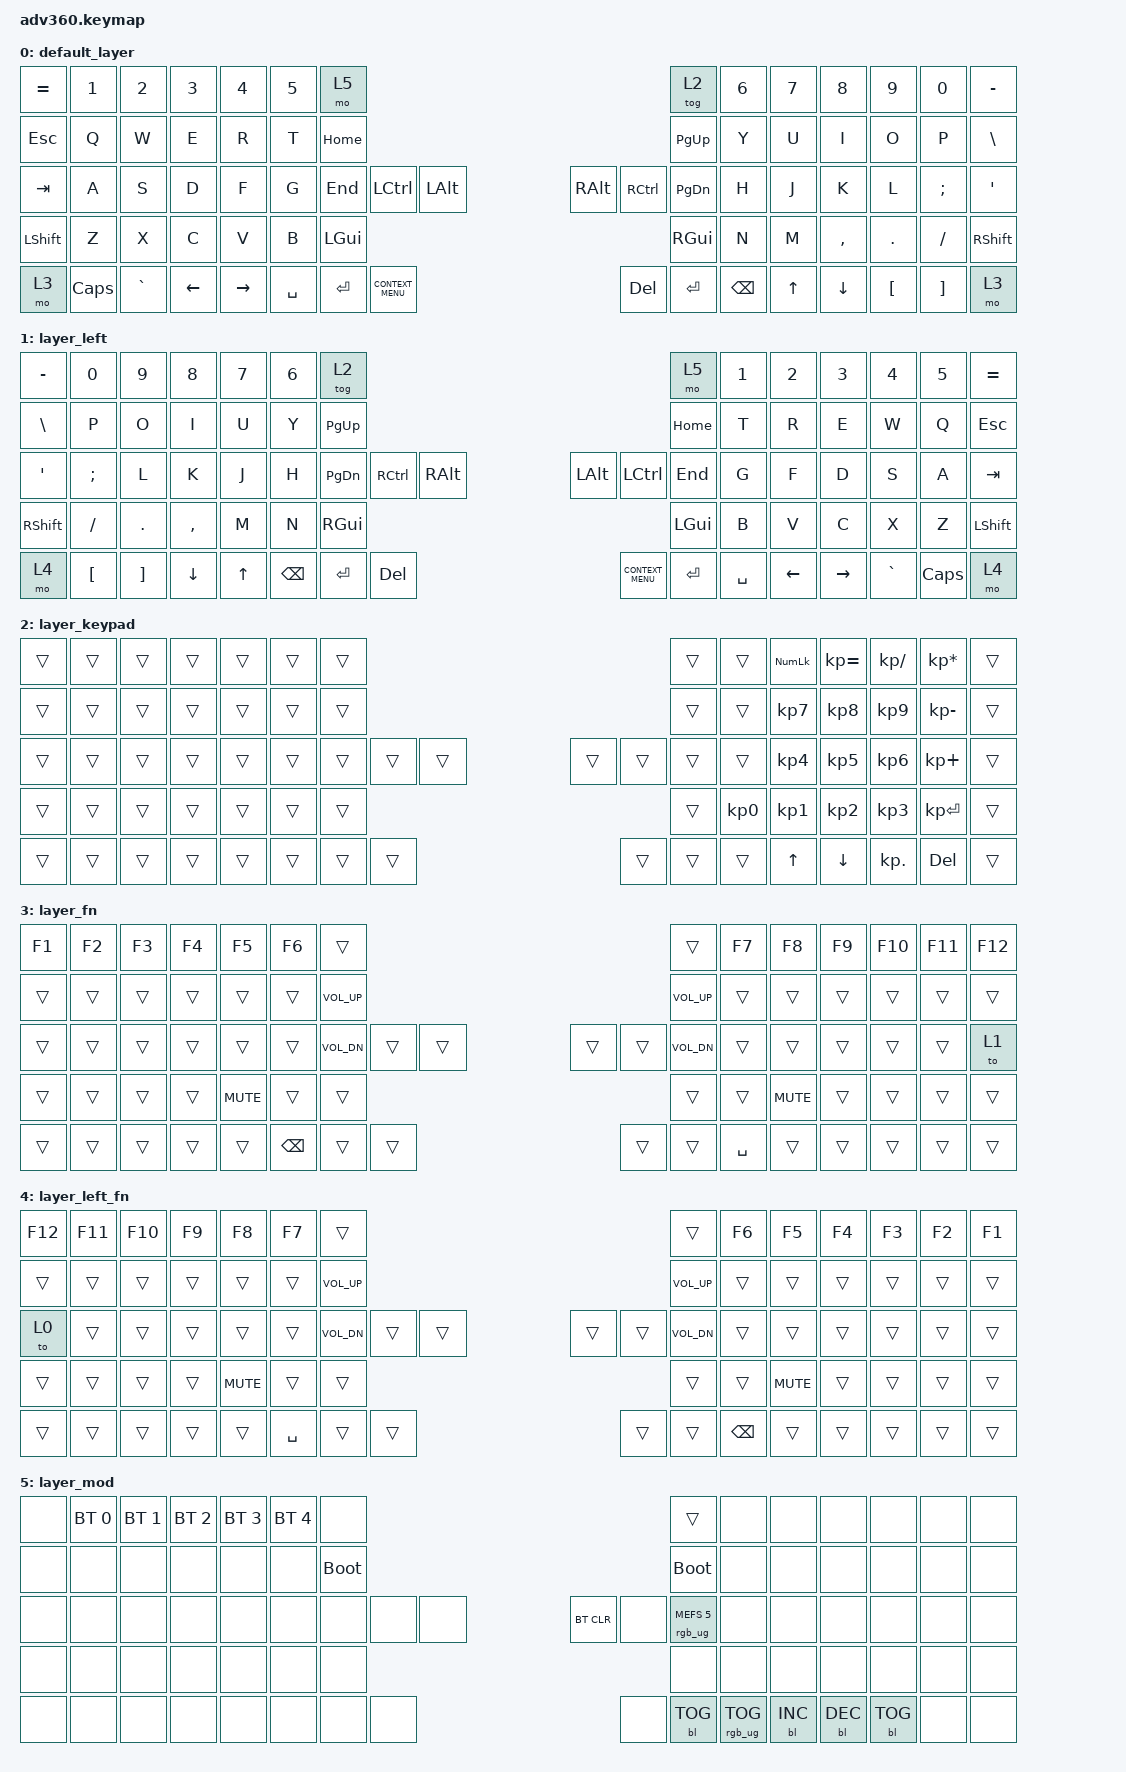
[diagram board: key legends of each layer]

/*
 * Copyright (c) 2020 The ZMK Contributors
 *
 * SPDX-License-Identifier: MIT
 */


/* THIS FILE WAS GENERATED!
 *
 * This file was generated automatically. You may or may not want to
 * edit it directly.
 */

#include <behaviors.dtsi>
#include <dt-bindings/zmk/keys.h>
#include <dt-bindings/zmk/bt.h>
#include <dt-bindings/zmk/rgb.h>
#include <dt-bindings/zmk/backlight.h>

/ {
  behaviors {
    #include "macros.dtsi"
    #include "version.dtsi"

    hm: homerow_mods {
        compatible = "zmk,behavior-hold-tap";
        label = "HOMEROW_MODS";
        #binding-cells = <2>;
        tapping-term-ms = <200>;
        quick_tap_ms = <175>;
        flavor = "tap-preferred";
        bindings = <&kp>, <&kp>;
    };
  };

    keymap {
        compatible = "zmk,keymap";


        default_layer {
            bindings = <
 &kp EQUAL    &kp N1     &kp N2    &kp N3     &kp N4  &kp N5                &mo 5                                                                             &tog 2  &kp N6  &kp N7     &kp N8    &kp N9    &kp N0  &kp MINUS
   &kp ESC     &kp Q      &kp W     &kp E      &kp R   &kp T             &kp HOME                                                                        &kp PAGE_UP   &kp Y   &kp U      &kp I     &kp O     &kp P   &kp BSLH
   &kp TAB     &kp A      &kp S     &kp D      &kp F   &kp G              &kp END  &kp LCTRL            &kp LALT                  &kp RALT  &kp RCTRL  &kp PAGE_DOWN   &kp H   &kp J      &kp K     &kp L  &kp SEMI    &kp SQT
 &kp LSHFT     &kp Z      &kp X     &kp C      &kp V   &kp B                                            &kp LGUI                  &kp RGUI                             &kp N   &kp M  &kp COMMA   &kp DOT  &kp FSLH  &kp RSHFT
     &mo 3  &kp CAPS  &kp GRAVE  &kp LEFT  &kp RIGHT                    &kp SPACE  &kp ENTER  &kp K_CONTEXT_MENU                   &kp DEL  &kp ENTER  &kp BACKSPACE          &kp UP   &kp DOWN  &kp LBKT  &kp RBKT      &mo 3
            >;
        };

        layer_left {
            bindings = <
 &kp MINUS    &kp N0    &kp N9     &kp N8  &kp N7  &kp N6                   &tog 2                                                                          &mo 5  &kp N1    &kp N2     &kp N3     &kp N4    &kp N5   &kp EQUAL
  &kp BSLH     &kp P     &kp O      &kp I   &kp U   &kp Y              &kp PAGE_UP                                                                       &kp HOME   &kp T     &kp R      &kp E      &kp W     &kp Q     &kp ESC
   &kp SQT  &kp SEMI     &kp L      &kp K   &kp J   &kp H            &kp PAGE_DOWN  &kp RCTRL  &kp RALT                            &kp LALT  &kp LCTRL    &kp END   &kp G     &kp F      &kp D      &kp S     &kp A     &kp TAB
 &kp RSHFT  &kp FSLH   &kp DOT  &kp COMMA   &kp M   &kp N                                      &kp RGUI                            &kp LGUI                         &kp B     &kp V      &kp C      &kp X     &kp Z  &kp LSHIFT
     &mo 4  &kp LBKT  &kp RBKT   &kp DOWN  &kp UP                    &kp BACKSPACE  &kp ENTER   &kp DEL                  &kp K_CONTEXT_MENU  &kp ENTER  &kp SPACE          &kp LEFT  &kp RIGHT  &kp GRAVE  &kp CAPS       &mo 4
            >;
        };

        layer_keypad {
            bindings = <
 &trans  &trans  &trans  &trans  &trans  &trans            &trans                                                  &trans     &trans  &kp KP_NUM  &kp KP_EQUAL  &kp KP_DIVIDE  &kp KP_MULTIPLY  &trans
 &trans  &trans  &trans  &trans  &trans  &trans            &trans                                                  &trans     &trans   &kp KP_N7     &kp KP_N8      &kp KP_N9     &kp KP_MINUS  &trans
 &trans  &trans  &trans  &trans  &trans  &trans            &trans  &trans  &trans                  &trans  &trans  &trans     &trans   &kp KP_N4     &kp KP_N5      &kp KP_N6      &kp KP_PLUS  &trans
 &trans  &trans  &trans  &trans  &trans  &trans                            &trans                  &trans                  &kp KP_N0   &kp KP_N1     &kp KP_N2      &kp KP_N3     &kp KP_ENTER  &trans
 &trans  &trans  &trans  &trans  &trans                    &trans  &trans  &trans                  &trans  &trans  &trans                 &kp UP      &kp DOWN     &kp KP_DOT          &kp DEL  &trans
            >;
        };

        layer_fn {
            bindings = <
 &kp F1  &kp F2  &kp F3  &kp F4      &kp F5  &kp F6                   &trans                                                        &trans  &kp F7      &kp F8  &kp F9  &kp F10  &kp F11  &kp F12
 &trans  &trans  &trans  &trans      &trans  &trans             &kp C_VOL_UP                                                  &kp C_VOL_UP  &trans      &trans  &trans   &trans   &trans   &trans
 &trans  &trans  &trans  &trans      &trans  &trans             &kp C_VOL_DN  &trans  &trans                  &trans  &trans  &kp C_VOL_DN  &trans      &trans  &trans   &trans   &trans    &to 1
 &trans  &trans  &trans  &trans  &kp C_MUTE  &trans                                   &trans                  &trans                        &trans  &kp C_MUTE  &trans   &trans   &trans   &trans
 &trans  &trans  &trans  &trans      &trans                    &kp BACKSPACE  &trans  &trans                  &trans  &trans     &kp SPACE              &trans  &trans   &trans   &trans   &trans
            >;
        };

        layer_left_fn {
            bindings = <
 &kp F12  &kp F11  &kp F10  &kp F9      &kp F8  &kp F7                  &trans                                                         &trans  &kp F6      &kp F5  &kp F4  &kp F3  &kp F2  &kp F1
  &trans   &trans   &trans  &trans      &trans  &trans            &kp C_VOL_UP                                                   &kp C_VOL_UP  &trans      &trans  &trans  &trans  &trans  &trans
   &to 0   &trans   &trans  &trans      &trans  &trans            &kp C_VOL_DN  &trans  &trans                  &trans  &trans   &kp C_VOL_DN  &trans      &trans  &trans  &trans  &trans  &trans
  &trans   &trans   &trans  &trans  &kp C_MUTE  &trans                                  &trans                  &trans                         &trans  &kp C_MUTE  &trans  &trans  &trans  &trans
  &trans   &trans   &trans  &trans      &trans                       &kp SPACE  &trans  &trans                  &trans  &trans  &kp BACKSPACE              &trans  &trans  &trans  &trans  &trans
            >;
        };

        layer_mod {
            bindings = <
  &none  &bt BT_SEL 0  &bt BT_SEL 1  &bt BT_SEL 2  &bt BT_SEL 3  &bt BT_SEL 4                  &none                                                                          &trans   &none       &none       &none       &none   &none   &none
  &none         &none         &none         &none         &none         &none            &bootloader                                                                     &bootloader   &none       &none       &none       &none   &none   &none
  &none         &none         &none         &none         &none         &none                  &none   &none   &none                  &bt BT_CLR       &none  &rgb_ug RGB_MEFS_CMD 5   &none       &none       &none       &none   &none   &none
  &none         &none         &none         &none         &none         &none                                  &none                       &none                                       &none       &none       &none       &none   &none   &none
  &none         &none         &none         &none         &none                                &none   &none   &none                       &none  &bl BL_TOG         &rgb_ug RGB_TOG          &bl BL_INC  &bl BL_DEC  &bl BL_TOG   &none   &none
            >;
        };

    };
};
